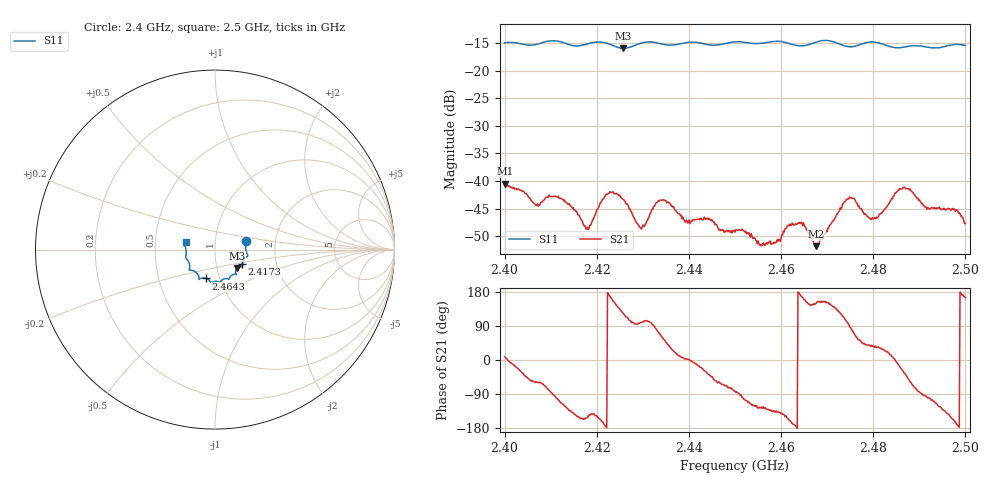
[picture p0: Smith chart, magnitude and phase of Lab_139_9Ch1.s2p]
# Hz S RI R 50
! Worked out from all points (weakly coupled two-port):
!   601 points, 2.4 GHz to 2.5 GHz, reference 50 ohm
!   highest |S21| = -40.47 dB at 2.4002 GHz (marker M1); lowest = -51.8 dB at 2.4677 GHz (marker M2)
!   lowest |S11| = -15.9 dB at 2.4257 GHz (marker M3), VSWR 1.38, Z = 62.5 - j13.1 ohm
!   |S11| at or under -10 dB: start of sweep to end of sweep
!   S12 and S22 are empty: the file has one direction only
!   S11 on the Smith chart (normalised r, x): 2.4 GHz: 1.41, +0.14; 2.4173 GHz: 1.34, -0.23; 2.4643 GHz: 0.86, -0.28; 2.5 GHz: 0.72, +0.06
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2.4e9  0.1727 0.0489  0.00935 0.00133  0 0  0 0
2.400167e9  0.1733 0.0483  0.00942 0.00099  0 0  0 0
2.407e9  0.1737 -0.0102  0.00316 -0.00515  0 0  0 0
2.412167e9  0.1792 -0.0383  -0.00262 -0.00647  0 0  0 0
2.416667e9  0.1528 -0.0743  -0.00394 -0.00196  0 0  0 0
2.417333e9  0.1518 -0.0818  -0.00352 -0.00169  0 0  0 0
2.422333e9  0.1497 -0.0948  -0.00764 0.000317  0 0  0 0
2.425667e9  0.1228 -0.1022  -0.00384 0.00565  0 0  0 0
2.429833e9  0.117 -0.1355  -0.000616 0.00373  0 0  0 0
2.433333e9  0.113 -0.1374  0.00185 0.00635  0 0  0 0
2.439667e9  0.0794 -0.1624  0.00416 0.000109  0 0  0 0
2.45e9  0.0291 -0.1809  0.000442 -0.0034  0 0  0 0
2.456167e9  -0.00789 -0.1785  -0.00151 -0.00229  0 0  0 0
2.464333e9  -0.0499 -0.1607  -0.00414 0.000816  0 0  0 0
2.466667e9  -0.0759 -0.1593  -0.00237 0.00168  0 0  0 0
2.467667e9  -0.0833 -0.1622  -0.00222 0.00128  0 0  0 0
2.4745e9  -0.1016 -0.1311  -0.000843 0.00685  0 0  0 0
2.479667e9  -0.1431 -0.1141  0.0035 0.00281  0 0  0 0
2.483333e9  -0.1409 -0.09  0.00588 0.00208  0 0  0 0
2.487e9  -0.1554 -0.0556  0.00672 -0.00526  0 0  0 0
2.491667e9  -0.1614 -0.0286  -0.000778 -0.00551  0 0  0 0
2.5e9  -0.1641 0.0427  -0.00396 0.0011  0 0  0 0
